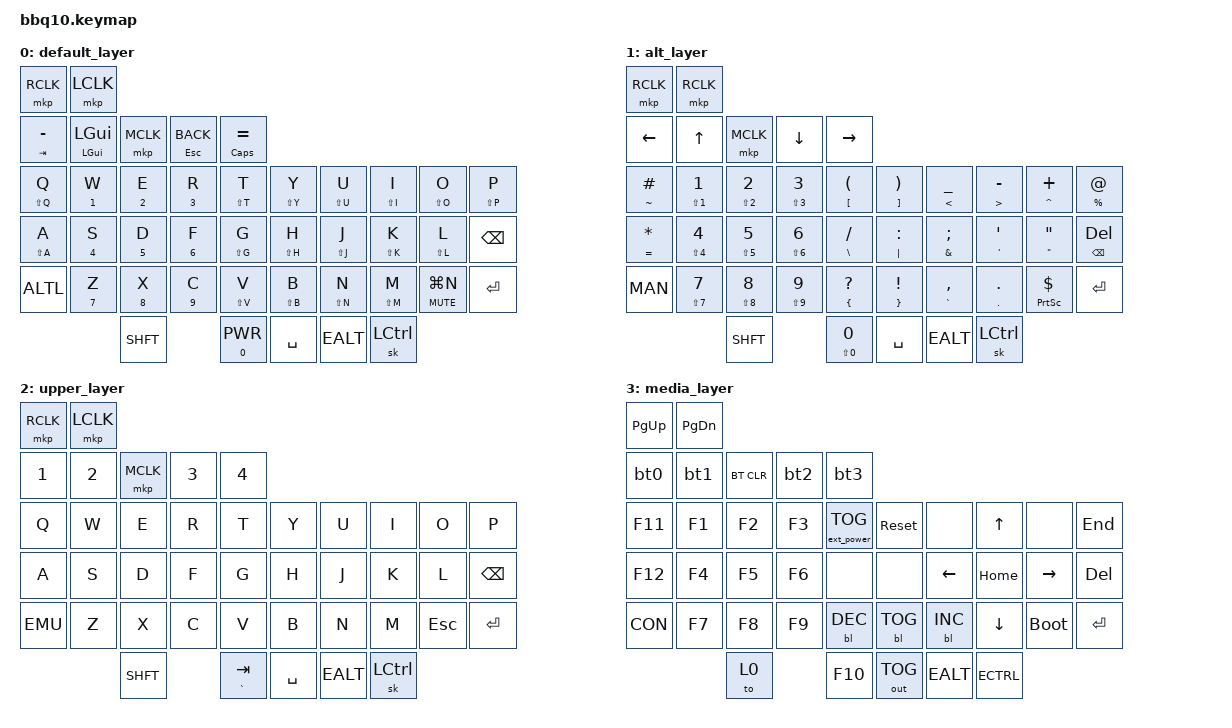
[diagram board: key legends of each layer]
/*
 * Copyright (c) 2023 ZitaoTech
 * "BlueBerry" Android Layout by Drexel Macintosh    
 * SPDX-License-Identifier: MIT 
 */

#include <behaviors.dtsi>
#include <dt-bindings/zmk/backlight.h>
#include <dt-bindings/zmk/bt.h>
#include <dt-bindings/zmk/ext_power.h>
#include <dt-bindings/zmk/keys.h>
#include <dt-bindings/zmk/mouse.h>
#include <dt-bindings/zmk/outputs.h>

#define ALT 1
#define UPPER 2
#define MEDIA 3

// Standard Behavior Configurations:

&mt {
    flavor = "tap-preferred";
    tapping-term-ms = <200>;
};

&sk { release-after-ms = <2500>; };

&sl { release-after-ms = <2500>; };

/ {
    //Behaviors Start Here:

    behaviors {
        // Tap Dance Behaviors

        td0: tap_dance_0 {
            compatible = "zmk,behavior-tap-dance";
            #binding-cells = <0>;
            tapping-term-ms = <300>;
            bindings = <&mkp LCLK>, <&bt BT_CLR>;
        };

        ALTL: tap_dance_1 {
            compatible = "zmk,behavior-tap-dance";
            #binding-cells = <0>;
            tapping-term-ms = <300>;
            bindings = <&sl ALT>, <&to ALT>;
        };

        SHFT: tap_dance_2 {
            compatible = "zmk,behavior-tap-dance";
            #binding-cells = <0>;
            tapping-term-ms = <300>;
            bindings = <&sk LSHFT>, <&kp CLCK>;
        };

        MED: tap_dance_3 {
            compatible = "zmk,behavior-tap-dance";
            #binding-cells = <0>;
            tapping-term-ms = <250>;
            bindings = <&to 0>, <&to MEDIA>;
        };

        MAN: tap_dance_4 {
            compatible = "zmk,behavior-tap-dance";
            #binding-cells = <0>;
            tapping-term-ms = <250>;
            bindings = <&to 0>, <&to UPPER>;
        };

        EALT: tap_dance_5 {
            compatible = "zmk,behavior-tap-dance";
            #binding-cells = <0>;
            tapping-term-ms = <300>;
            bindings = <&sk LALT>, <&kp LALT>;
        };

        ECTRL: tap_dance_6 {
            compatible = "zmk,behavior-tap-dance";
            #binding-cells = <0>;
            tapping-term-ms = <300>;
            bindings = <&sk LCTRL>, <&kp LC(SPACE)>;
        };

        EMU: tap_dance_7 {
            compatible = "zmk,behavior-tap-dance";
            #binding-cells = <0>;
            tapping-term-ms = <250>;
            bindings = <&to 0>, <&to MEDIA>;
        };

        CON: tap_dance_8 {
            compatible = "zmk,behavior-tap-dance";
            #binding-cells = <0>;
            tapping-term-ms = <250>;
            bindings = <&to 0>, <&to 0>;
        };

        // Macro Behaviors

        tap: tap {
            compatible = "zmk,behavior-macro-one-param";
            #binding-cells = <1>;
            bindings = <&macro_param_1to1 &kp MACRO_PLACEHOLDER>;
        };

        glo: globe_pseudo_mod {
            compatible = "zmk,behavior-macro-one-param";
            #binding-cells = <1>;
            bindings =
                <&macro_press>,
                <&kp GLOBE &macro_param_1to1>,
                <&macro_tap>,
                <&kp MACRO_PLACEHOLDER>,
                <&macro_release>,
                <&kp GLOBE>;
        };

        bt0: bt0 {
            compatible = "zmk,behavior-macro";
            #binding-cells = <0>;
            bindings = <&bt BT_SEL 0 &bt BT_DISC 1 &bt BT_DISC 2 &bt BT_DISC 3 &bt BT_DISC 4>;
            label = "BT0";
        };

        bt1: bt1 {
            compatible = "zmk,behavior-macro";
            #binding-cells = <0>;
            bindings = <&bt BT_SEL 1 &bt BT_DISC 0 &bt BT_DISC 2 &bt BT_DISC 3 &bt BT_DISC 4>;
            label = "BT1";
        };

        bt2: bt2 {
            compatible = "zmk,behavior-macro";
            #binding-cells = <0>;
            bindings = <&bt BT_SEL 2 &bt BT_DISC 0 &bt BT_DISC 1 &bt BT_DISC 3 &bt BT_DISC 4>;
            label = "BT2";
        };

        bt3: bt3 {
            compatible = "zmk,behavior-macro";
            #binding-cells = <0>;
            bindings = <&bt BT_SEL 3 &bt BT_DISC 0 &bt BT_DISC 1 &bt BT_DISC 2 &bt BT_DISC 4>;
            label = "BT3";
        };

        // Hold Tap Behaviors

        KPM: behavior_KPM {
            compatible = "zmk,behavior-hold-tap";
            label = "KPM";
            #binding-cells = <2>;
            flavor = "tap-preferred";
            tapping-term-ms = <400>;
            bindings = <&msc>, <&kp>;
        };

        hm: homerow_mods {
            compatible = "zmk,behavior-hold-tap";
            #binding-cells = <2>;
            tapping-term-ms = <500>;
            bindings = <&out &kp>;
        };

        hm2: homerow_mods_2 {
            compatible = "zmk,behavior-hold-tap";
            #binding-cells = <2>;
            tapping-term-ms = <500>;
            bindings = <&ext_power &kp>;
        };

        mtt: mod_tap_tap {
            compatible = "zmk,behavior-hold-tap";
            #binding-cells = <2>;
            flavor = "tap-preferred";
            tapping-term-ms = <200>;
            quick-tap-ms = <125>;
            require-prior-idle-ms = <125>;
            bindings = <&tap>, <&tap>;
        };

        msk: mod_Stick_Pre {
            compatible = "zmk,behavior-hold-tap";
            #binding-cells = <2>;
            flavor = "tap-preferred";
            tapping-term-ms = <200>;
            quick-tap-ms = <125>;
            require-prior-idle-ms = <125>;
            bindings = <&sk>, <&kp>;
        };

        alt_to: behavior_alt_to {
            compatible = "zmk,behavior-hold-tap";
            label = "alt_to";
            #binding-cells = <2>;
            flavor = "tap-preferred";
            tapping-term-ms = <300>;
            bindings = <&kp>, <&to>;
        };

        glb: mod_tap_glo {
            compatible = "zmk,behavior-hold-tap";
            #binding-cells = <2>;
            flavor = "tap-preferred";
            tapping-term-ms = <200>;
            quick-tap-ms = <125>;
            require-prior-idle-ms = <125>;
            bindings = <&kp>, <&glo>;
        };

        mou: mod_mouse {
            compatible = "zmk,behavior-hold-tap";
            #binding-cells = <2>;
            flavor = "tap-preferred";
            tapping-term-ms = <200>;
            quick-tap-ms = <125>;
            require-prior-idle-ms = <125>;
            bindings = <&mkp >, <&mkp >;
        };

        //End Behvaiors here
    };

    macros {
    };

    keymap {
        compatible = "zmk,keymap";

        default_layer {
            bindings = <
&mkp RCLK       &mkp LCLK
&mtt TAB MINUS  &msk LGUI LGUI  &mkp MCLK  &mtt ESC K_BACK  &msk CAPSLOCK EQUAL
&mtt LS(Q) Q    &mtt N1 W       &mtt N2 E  &mtt N3 R        &mtt LS(T) T         &mtt LS(Y) Y    &mtt LS(U) U  &mtt LS(I) I  &mtt LS(O) O       &mtt LS(P) P
&mtt LS(A) A    &mtt N4 S       &mtt N5 D  &mtt N6 F        &mtt LS(G) G         &mtt LS(H) H    &mtt LS(J) J  &mtt LS(K) K  &mtt LS(L) L       &kp BSPC
&ALTL           &mtt N7 Z       &mtt N8 X  &mtt N9 C        &mtt LS(V) V         &mtt LS(B) B    &mtt LS(N) N  &mtt LS(M) M  &mtt C_MUTE LG(N)  &kp ENTER
                                &SHFT                       &mtt N0 K_PWR        &kp SPACE       &EALT         &sk LCTRL
            >;
        };

        alt_layer {
            bindings = <
&mkp RCLK        &mkp RCLK
&kp LEFT_ARROW   &kp UP_ARROW    &mkp MCLK       &kp DOWN        &kp RIGHT
&mtt TILDE HASH  &mtt LS(N1) N1  &mtt LS(N2) N2  &mtt LS(N3) N3  &mtt LBKT LPAR   &mtt RBKT RPAR     &mtt LT UNDER     &mtt GT MINUS   &mtt CARET PLUS  &mtt PERCENT AT
&mtt EQUAL STAR  &mtt LS(N4) N4  &mtt LS(N5) N5  &mtt LS(N6) N6  &mtt BSLH SLASH  &mtt PIPE COLON    &mtt AMPS SEMI    &mtt APOS APOS  &mtt DQT DQT     &mtt BSPC DEL
&MAN             &mtt LS(N7) N7  &mtt LS(N8) N8  &mtt LS(N9) N9  &mtt LBRC QMARK  &mtt RBRC EXCL     &mtt GRAVE COMMA  &mtt DOT DOT    &mtt PSCRN DLLR  &kp ENTER
                                 &SHFT                           &mtt LS(N0) N0   &kp SPACE          &EALT             &sk LCTRL
            >;
        };

        upper_layer {
            bindings = <
&mkp RCLK  &mkp LCLK
&kp N1     &kp N2     &mkp MCLK  &kp N3  &kp N4
&kp Q      &kp W      &kp E      &kp R   &kp T           &kp Y        &kp U  &kp I      &kp O    &kp P
&kp A      &kp S      &kp D      &kp F   &kp G           &kp H        &kp J  &kp K      &kp L    &kp BSPC
&EMU       &kp Z      &kp X      &kp C   &kp V           &kp B        &kp N  &kp M      &kp ESC  &kp ENTER
                      &SHFT              &mtt GRAVE TAB  &kp SPACE    &EALT  &sk LCTRL
            >;
        };

        media_layer {
            bindings = <
&kp PAGE_UP  &kp PAGE_DOWN
&bt0         &bt1           &bt BT_CLR  &bt2    &bt3
&kp F11      &kp F1         &kp F2      &kp F3  &ext_power EP_TOG  &sys_reset      &none       &kp UP    &none        &kp END
&kp F12      &kp F4         &kp F5      &kp F6  &none              &none           &kp LEFT    &kp HOME  &kp RIGHT    &kp DEL
&CON         &kp F7         &kp F8      &kp F9  &bl BL_DEC         &bl BL_TOG      &bl BL_INC  &kp DOWN  &bootloader  &kp ENTER
                            &to 0               &kp F10            &out OUT_TOG    &EALT       &ECTRL
            >;
        };
    };
};
